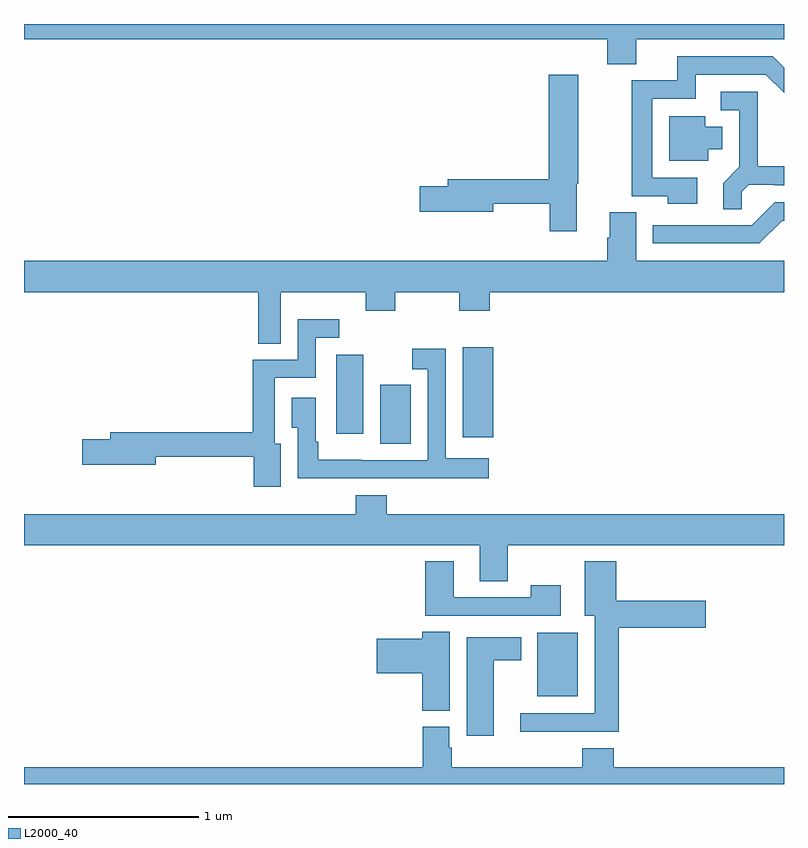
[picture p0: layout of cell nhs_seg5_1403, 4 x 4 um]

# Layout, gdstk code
import gdstk
lib = gdstk.Library(unit=1e-6, precision=1e-09)
def R(c, l, rs):  # rectangles x0, y0, x1, y1
    for r in rs: c.add(gdstk.rectangle(r[:2], r[2:], *l))
def P(c, l, *ps):  # polygons
    for p in ps: c.add(gdstk.Polygon(p, *l))
L2000_40 = (2000, 40)

nhs_seg5_1403 = lib.new_cell('nhs_seg5_1403')
R(nhs_seg5_1403, L2000_40, [(197.702,893.261,197.914,893.596), (196.874,894.589,197.035,894.9), (197.309,894.624,197.47,895.099), (196.643,894.642,196.786,895.057)])
P(nhs_seg5_1403, L2000_40, [(199,896.799),(195,896.799),(195,896.72),(198.071,896.72),(198.071,896.587),(198.223,896.587),(198.223,896.72),(199,896.72)],
  [(198.544,895.989),(198.306,895.989),(198.306,896.406),(198.535,896.406),(198.535,896.532),(198.903,896.532),(199,896.436),(199,896.57),(198.942,896.628),(198.437,896.628),(198.437,896.502),(198.198,896.502),(198.198,895.893),(198.388,895.893),(198.388,895.853),(198.544,895.853)],
  [(197.908,895.959),(197.916,895.959),(197.916,896.533),(197.762,896.533),(197.762,895.982),(197.231,895.982),(197.231,895.946),(197.082,895.946),(197.082,895.811),(197.47,895.811),(197.47,895.854),(197.767,895.854),(197.767,895.707),(197.908,895.707)],
  [(198.777,895.916),(198.814,895.953),(198.948,895.953),(198.948,895.95),(199,895.95),(199,896.05),(198.863,896.05),(198.863,896.442),(198.666,896.442),(198.666,896.346),(198.765,896.346),(198.765,896.047),(198.679,895.961),(198.679,895.825),(198.777,895.825)],
  [(198.601,896.141),(198.676,896.141),(198.676,896.257),(198.586,896.257),(198.586,896.314),(198.395,896.314),(198.395,896.078),(198.601,896.078)],
  [(198.99,895.764),(199,895.764),(199,895.86),(198.951,895.86),(198.831,895.74),(198.308,895.74),(198.308,895.644),(198.87,895.644)],
  [(196.351,895.388),(196.798,895.388),(196.798,895.289),(196.953,895.289),(196.953,895.388),(197.29,895.388),(197.29,895.289),(197.45,895.289),(197.45,895.388),(199,895.388),(199,895.552),(198.223,895.552),(198.223,895.808),(198.083,895.808),(198.083,895.674),(198.071,895.674),(198.071,895.552),(195,895.552),(195,895.388),(196.233,895.388),(196.233,895.117),(196.351,895.117)],
  [(196.351,894.591),(196.321,894.591),(196.321,894.936),(196.536,894.936),(196.536,895.149),(196.66,895.149),(196.66,895.246),(196.44,895.246),(196.44,895.032),(196.203,895.032),(196.203,894.65),(195.455,894.65),(195.455,894.614),(195.306,894.614),(195.306,894.479),(195.694,894.479),(195.694,894.522),(196.208,894.522),(196.208,894.363),(196.351,894.363)],
  [(196.661,894.408),(197.027,894.408),(197.027,894.407),(197.446,894.407),(197.446,894.514),(197.22,894.514),(197.22,895.09),(197.043,895.09),(197.043,894.981),(197.124,894.981),(197.124,894.504),(196.778,894.504),(196.778,894.505),(196.549,894.505),(196.549,894.601),(196.536,894.601),(196.536,894.832),(196.409,894.832),(196.409,894.673),(196.44,894.673),(196.44,894.407),(196.661,894.407)],
  [(197.547,894.056),(199,894.056),(199,894.22),(196.91,894.22),(196.91,894.319),(196.745,894.319),(196.745,894.22),(195,894.22),(195,894.056),(197.399,894.056),(197.399,893.866),(197.547,893.866)],
  [(197.824,893.845),(197.668,893.845),(197.668,893.781),(197.263,893.781),(197.263,893.971),(197.111,893.971),(197.111,893.685),(197.824,893.685)],
  [(198.131,893.621),(198.589,893.621),(198.589,893.763),(198.118,893.763),(198.118,893.971),(197.951,893.971),(197.951,893.684),(198.005,893.684),(198.005,893.172),(197.613,893.172),(197.613,893.075),(198.131,893.075)],
  [(197.242,893.6),(197.096,893.6),(197.096,893.564),(196.857,893.564),(196.857,893.381),(197.096,893.381),(197.096,893.185),(197.242,893.185)],
  [(197.473,893.45),(197.617,893.45),(197.617,893.572),(197.33,893.572),(197.33,893.052),(197.473,893.052)],
  [(199,892.888),(198.104,892.888),(198.104,892.987),(197.939,892.987),(197.939,892.888),(197.252,892.888),(197.252,892.989),(197.239,892.989),(197.239,893.1),(197.099,893.1),(197.099,892.888),(195,892.888),(195,892.799),(199,892.799)])

lib.write_gds('nhs_seg5_1403.gds')
